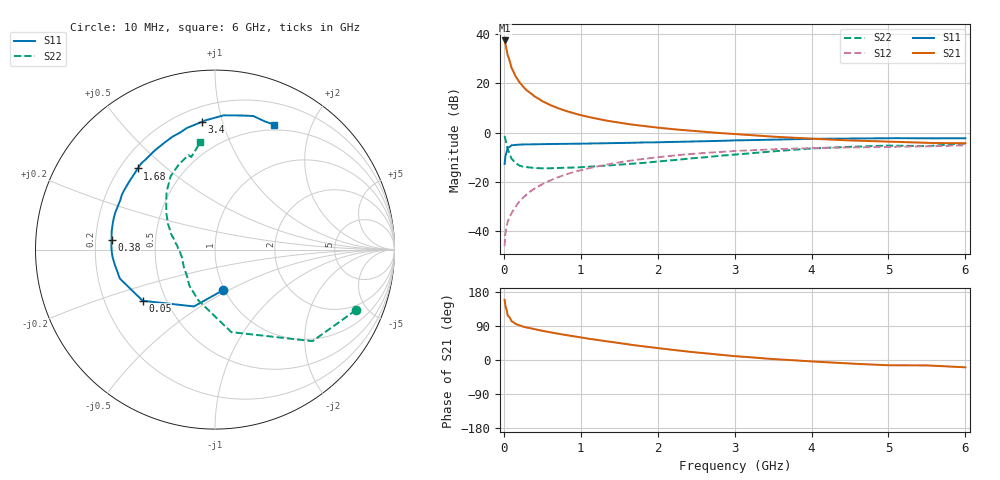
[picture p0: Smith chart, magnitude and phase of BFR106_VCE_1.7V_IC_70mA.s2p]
! Infineon Technologies  Discrete & RF Semiconductors
! BFR106
! VCE =  1.7 V,  IC =  70 mA
! Common Emitter S-Parameters:  Nov 2015
# GHz  S  MA  R  50
!  f  S11  S21  S12  S22
! GHz  MAG  ANG  MAG  ANG  MAG  ANG  MAG  ANG
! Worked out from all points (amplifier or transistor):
!   210 points, 10 MHz to 6 GHz, reference 50 ohm
!   highest |S21| = 37.4 dB at 10 MHz (marker M1)
!   |S21| within 3 dB of that: start of sweep to 31.1 MHz
!   unconditionally stable (mu >= 1): 187.9 MHz to 2.984 GHz; 3.078 GHz to 3.211 GHz; 4.517 GHz to end of sweep
!   at 185 MHz: K = 1.00, MSG = 25.0 dB, |S12| = -28.6 dB
!   at 1.52 GHz: K = 1.06, MAG = 6.4 dB, |S12| = -12.0 dB
!   at 6 GHz: K = 1.01, MAG = -0.3 dB, |S12| = -5.1 dB
!   S11 on the Smith chart (normalised r, x): 10 MHz: 0.98, -0.47; 50 MHz: 0.37, -0.28; 380 MHz: 0.27, +0.04; 1.68 GHz: 0.27, +0.40; 3.4 GHz: 0.29, +0.86; 6 GHz: 0.44, +1.49
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0.01  0.2316 -79.5  73.8 158.8  0.005 77.5  0.8551 -23.2
0.02  0.3375 -110.3  62.68 142.9  0.0089 66.5  0.7452 -43.2
0.05  0.4936 -144.7  37.23 117.4  0.0155 59.2  0.4686 -78.8
0.1  0.5543 -163.1  20.63 102.4  0.0232 63.7  0.2972 -108.3
0.15  0.5643 -171.4  14.04 95.4  0.0311 66.9  0.2459 -125.7
0.2  0.5723 -175.7  10.67 91.3  0.0398 69.8  0.2161 -135.9
0.24  0.5754 -178.7  8.956 88.7  0.0463 70.6  0.2063 -143.1
0.3  0.5774 178.5  7.14 85.5  0.0564 71.9  0.1996 -150.2
0.38  0.5791 174.6  5.755 82.3  0.0702 72.2  0.1935 -157.2
0.4  0.5799 173.6  5.412 81.2  0.0736 72.3  0.1925 -159.0
0.5  0.5848 169.8  4.345 77.1  0.09 71.6  0.1889 -164.8
0.6  0.5878 166.0  3.641 73.2  0.1069 70.9  0.1895 -168.3
0.8  0.5927 159.6  2.771 66.0  0.1408 68.1  0.1947 -175.1
1.02  0.5965 151.8  2.224 59.0  0.1762 64.8  0.2005 179.9
1.3  0.6066 144.2  1.791 50.2  0.2202 59.9  0.2125 173.7
1.68  0.6245 133.6  1.446 39.5  0.2754 53.4  0.2355 166.1
2.02  0.6378 124.9  1.254 31.0  0.3204 47.3  0.2627 159.6
3.1  0.6999 101.1  0.909 8.8  0.4306 29.0  0.3693 137.4
3.4  0.716 95.7  0.848 4.1  0.4535 24.4  0.4056 131.8
4.1  0.7508 85.0  0.741 -4.9  0.4897 14.1  0.4844 119.5
5.1  0.7722 73.0  0.647 -14.0  0.518 2.6  0.5438 105.4
6  0.7694 64.8  0.611 -19.3  0.5528 -6.3  0.6042 97.7
